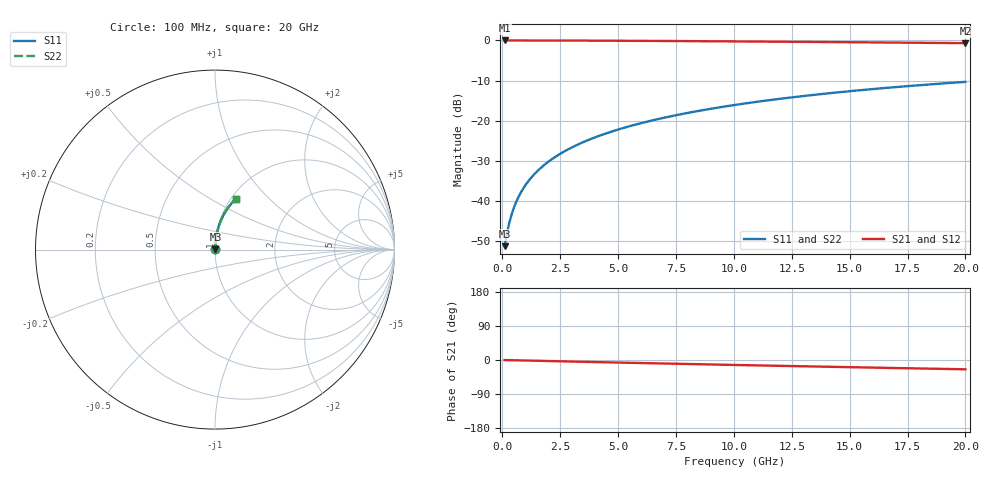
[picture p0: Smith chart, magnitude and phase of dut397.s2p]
! Touchstone file exported from HFSS 2024.1.0
!  File:  C:/UserFiles/LocalFiles/RDL_TSV_Batchsim/temp_RDL_top_397_1779610062.aedt
!  Generated:  04:10:13 PM May 24, 2026
!  Design:  RDL_top
!  Project:  temp_RDL_top_397_1779610062
!  Setup:  Setup1
!  Solution:  Sweep
! Variables:
!  dtsv = 10.80580581um
!  hbump = 3um
!  htsv = 62.61um
!  ldown = 100um
!  lrdl = 277.99um
!  p = 40
!  p1 = 51.76um
!  rhole = 1um
!  t = 450um
!  tdown = 3.915915916um
!  trdl = 3.35um
!  wdown = 15.38538539um
!  wrdl = 14.39um
# GHz S MA R 50.000000
! Terminal data exported
! Port[1] = Box2_T1
! Port[2] = Box2_T2
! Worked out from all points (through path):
!   200 points, 100 MHz to 20 GHz, reference 50 ohm
!   highest |S21| = -0.02 dB at 100 MHz (marker M1); lowest = -0.7 dB at 20 GHz (marker M2)
!   group delay of S21, straight-line fit = 3.4 ps
!   lowest |S11| = -51.3 dB at 100 MHz (marker M3), VSWR 1.01, Z = 50.2 + j0.161 ohm
!   |S11| at or under -10 dB: start of sweep to end of sweep
!   |S22| runs from -51.3 to -10.3 dB; largest |S21 - S12| = 4.9e-15
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0.1  0.002725 36.0  0.9978 -0.1  0.9978 -0.1  0.002725 36.0
! Gamma 0 0 0 0
! Port Impedance 50 0 50 0
0.2  0.003901 54.8  0.9977 -0.3  0.9977 -0.3  0.003901 54.8
0.3  0.005286 64.1  0.9977 -0.4  0.9977 -0.4  0.005286 64.1
0.4  0.006737 69.4  0.9976 -0.6  0.9976 -0.6  0.006737 69.4
0.5  0.008212 72.8  0.9975 -0.7  0.9975 -0.7  0.008212 72.8
0.6  0.009697 75.1  0.9975 -0.8  0.9975 -0.8  0.009697 75.1
0.8  0.01269 78.1  0.9973 -1.1  0.9973 -1.1  0.01269 78.1
1.1  0.0172 80.7  0.997 -1.5  0.997 -1.5  0.0172 80.7
1.5  0.02327 82.5  0.9966 -2.1  0.9966 -2.1  0.02327 82.5
1.8  0.02784 83.3  0.9963 -2.5  0.9963 -2.5  0.02784 83.3
2.1  0.03243 83.7  0.9959 -2.9  0.9959 -2.9  0.03243 83.7
2.7  0.04165 84.2  0.9949 -3.7  0.9949 -3.7  0.04165 84.2
3.5  0.05402 84.3  0.9933 -4.8  0.9933 -4.8  0.05402 84.3
4.2  0.06491 84.1  0.9916 -5.7  0.9916 -5.7  0.06491 84.1
5  0.07741 83.7  0.9894 -6.8  0.9894 -6.8  0.07741 83.7
5.9  0.09155 83.1  0.9866 -7.9  0.9866 -7.9  0.09155 83.1
6.8  0.1057 82.3  0.9836 -9.1  0.9836 -9.1  0.1057 82.3
8.3  0.1294 80.9  0.9781 -11.0  0.9781 -11.0  0.1294 80.9
10.1  0.1577 79.1  0.9709 -13.2  0.9709 -13.2  0.1577 79.1
13.4  0.2086 75.4  0.9565 -17.1  0.9565 -17.1  0.2086 75.4
16.7  0.2576 71.6  0.9408 -20.9  0.9408 -20.9  0.2576 71.6
20  0.304 67.9  0.924 -24.6  0.924 -24.6  0.304 67.9
